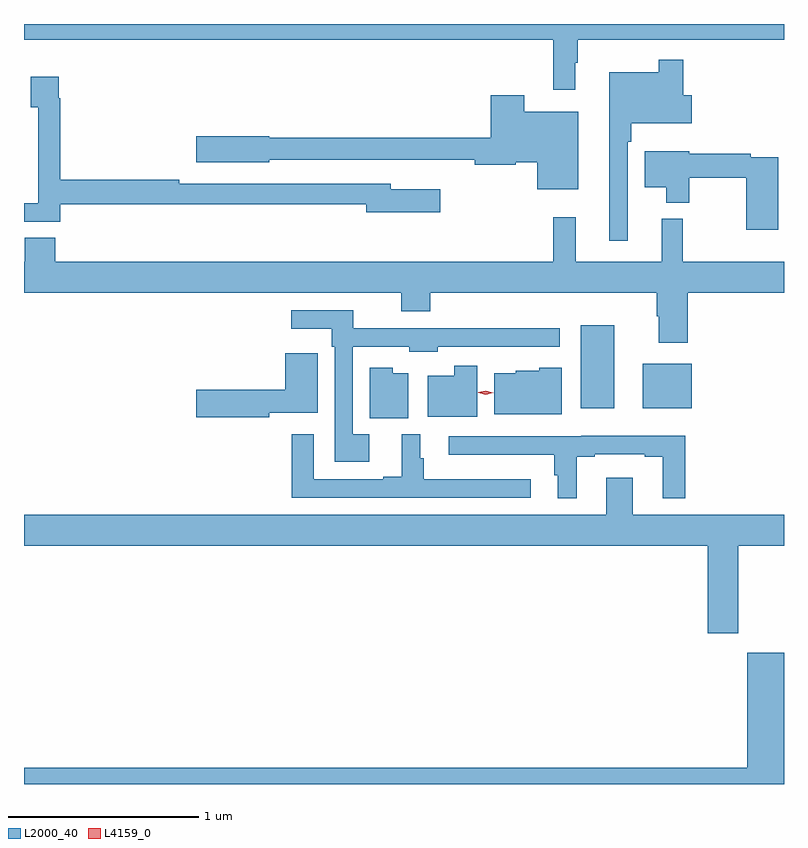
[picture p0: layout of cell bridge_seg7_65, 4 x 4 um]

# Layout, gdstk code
import gdstk
lib = gdstk.Library(unit=1e-6, precision=1e-09)
def R(c, l, rs):  # rectangles x0, y0, x1, y1
    for r in rs: c.add(gdstk.rectangle(r[:2], r[2:], *l))
def P(c, l, *ps):  # polygons
    for p in ps: c.add(gdstk.Polygon(p, *l))
L2000_40 = (2000, 40)
L4159_0 = (4159, 0)

bridge_seg7_65 = lib.new_cell('bridge_seg7_65')
R(bridge_seg7_65, L2000_40, [(942.362,1010.663,942.538,1011.1), (942.689,1010.663,942.946,1010.899)])
P(bridge_seg7_65, L2000_40, [(942.334,1012.481),(942.346,1012.481),(942.346,1012.604),(943.432,1012.604),(943.432,1012.686),(939.432,1012.686),(939.432,1012.604),(942.217,1012.604),(942.217,1012.341),(942.334,1012.341)],
  [(942.609,1012.067),(942.629,1012.067),(942.629,1012.163),(942.946,1012.163),(942.946,1012.311),(942.902,1012.311),(942.902,1012.498),(942.774,1012.498),(942.774,1012.432),(942.512,1012.432),(942.512,1011.546),(942.609,1011.546)],
  [(939.623,1011.738),(941.234,1011.738),(941.234,1011.695),(941.623,1011.695),(941.623,1011.817),(941.362,1011.817),(941.362,1011.846),(940.25,1011.846),(940.25,1011.866),(939.623,1011.866),(939.623,1012.295),(939.616,1012.295),(939.616,1012.408),(939.467,1012.408),(939.467,1012.247),(939.507,1012.247),(939.507,1011.742),(939.432,1011.742),(939.432,1011.645),(939.623,1011.645)],
  [(942.349,1012.225),(942.066,1012.225),(942.066,1012.312),(941.888,1012.312),(941.888,1012.088),(940.722,1012.088),(940.722,1012.094),(940.338,1012.094),(940.338,1011.959),(940.722,1011.959),(940.722,1011.972),(941.458,1011.972),(941.458,1011.971),(941.804,1011.971),(941.804,1011.944),(942.021,1011.944),(942.021,1011.959),(942.134,1011.959),(942.134,1011.815),(942.349,1011.815)],
  [(943.403,1011.984),(943.256,1011.984),(943.256,1012.004),(942.934,1012.004),(942.934,1012.015),(942.698,1012.015),(942.698,1011.827),(942.812,1011.827),(942.812,1011.746),(942.934,1011.746),(942.934,1011.876),(943.232,1011.876),(943.232,1011.603),(943.403,1011.603)],
  [(939.436,1011.56),(939.436,1011.436),(939.432,1011.436),(939.432,1011.272),(941.417,1011.272),(941.417,1011.173),(941.57,1011.173),(941.57,1011.272),(942.761,1011.272),(942.761,1011.149),(942.773,1011.149),(942.773,1011.009),(942.926,1011.009),(942.926,1011.272),(943.432,1011.272),(943.432,1011.436),(942.898,1011.436),(942.898,1011.661),(942.788,1011.661),(942.788,1011.436),(942.335,1011.436),(942.335,1011.67),(942.217,1011.67),(942.217,1011.436),(939.596,1011.436),(939.596,1011.56)],
  [(941.248,1010.527),(941.163,1010.527),(941.163,1010.988),(941.46,1010.988),(941.46,1010.96),(941.61,1010.96),(941.61,1010.988),(942.253,1010.988),(942.253,1011.086),(941.166,1011.086),(941.166,1011.18),(940.839,1011.18),(940.839,1011.083),(941.051,1011.083),(941.051,1010.987),(941.067,1010.987),(941.067,1010.381),(941.248,1010.381)],
  [(940.722,1010.639),(940.978,1010.639),(940.978,1010.849),(940.977,1010.849),(940.977,1010.952),(940.808,1010.952),(940.808,1010.762),(940.338,1010.762),(940.338,1010.615),(940.722,1010.615)],
  [(941.818,1010.887),(941.696,1010.887),(941.696,1010.836),(941.558,1010.836),(941.558,1010.618),(941.818,1010.618)],
  [(941.455,1010.848),(941.374,1010.848),(941.374,1010.878),(941.252,1010.878),(941.252,1010.612),(941.455,1010.612)],
  [(942.262,1010.878),(942.144,1010.878),(942.144,1010.86),(942.021,1010.86),(942.021,1010.848),(941.906,1010.848),(941.906,1010.633),(942.262,1010.633)],
  [(942.1,1010.29),(941.537,1010.29),(941.537,1010.4),(941.518,1010.4),(941.518,1010.527),(941.42,1010.527),(941.42,1010.302),(941.324,1010.302),(941.324,1010.289),(940.956,1010.289),(940.956,1010.527),(940.84,1010.527),(940.84,1010.193),(942.1,1010.193)],
  [(942.34,1010.409),(942.436,1010.409),(942.436,1010.421),(942.698,1010.421),(942.698,1010.409),(942.794,1010.409),(942.794,1010.189),(942.911,1010.189),(942.911,1010.518),(942.366,1010.518),(942.366,1010.517),(941.667,1010.517),(941.667,1010.42),(942.223,1010.42),(942.223,1010.31),(942.242,1010.31),(942.242,1010.189),(942.34,1010.189)],
  [(943.191,1009.94),(943.432,1009.94),(943.432,1010.104),(942.637,1010.104),(942.637,1010.299),(942.497,1010.299),(942.497,1010.104),(939.432,1010.104),(939.432,1009.94),(943.031,1009.94),(943.031,1009.479),(943.191,1009.479)],
  [(939.432,1008.686),(943.432,1008.686),(943.432,1009.378),(943.238,1009.378),(943.238,1008.772),(939.432,1008.772)])
P(bridge_seg7_65, L4159_0, [(941.862,1010.736),(941.822,1010.746),(941.822,1010.747),(941.822,1010.747),(941.862,1010.756),(941.902,1010.745),(941.902,1010.745),(941.902,1010.745)])

lib.write_gds('bridge_seg7_65.gds')
